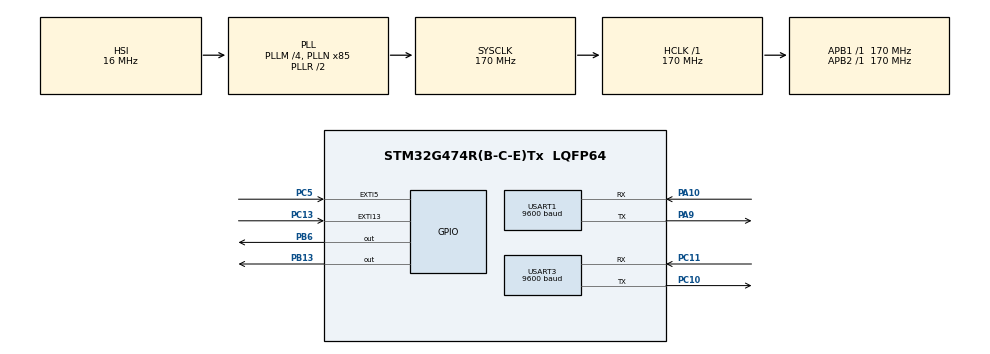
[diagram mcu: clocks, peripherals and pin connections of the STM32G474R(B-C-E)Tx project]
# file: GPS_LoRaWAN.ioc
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Dma.Request0=USART3_RX
Dma.USART3_RX.0.Direction=DMA_PERIPH_TO_MEMORY
Dma.USART3_RX.0.EventEnable=DISABLE
Dma.USART3_RX.0.Instance=DMA1_Channel1
Dma.USART3_RX.0.MemDataAlignment=DMA_MDATAALIGN_BYTE
Dma.USART3_RX.0.MemInc=DMA_MINC_ENABLE
Dma.USART3_RX.0.Mode=DMA_NORMAL
Dma.USART3_RX.0.PeriphDataAlignment=DMA_PDATAALIGN_BYTE
Dma.USART3_RX.0.PeriphInc=DMA_PINC_DISABLE
Dma.USART3_RX.0.Polarity=HAL_DMAMUX_REQ_GEN_RISING
Dma.USART3_RX.0.Priority=DMA_PRIORITY_LOW
Dma.USART3_RX.0.RequestNumber=1
Dma.USART3_RX.0.SignalID=NONE
Dma.USART3_RX.0.SyncEnable=DISABLE
Dma.USART3_RX.0.SyncPolarity=HAL_DMAMUX_SYNC_NO_EVENT
Dma.USART3_RX.0.SyncRequestNumber=1
Dma.USART3_RX.0.SyncSignalID=NONE
Mcu.Family=STM32G4
Mcu.Name=STM32G474R(B-C-E)Tx
Mcu.Package=LQFP64
NVIC.DMA1_Channel1_IRQn=true\:0\:0\:false\:false\:true\:false\:true\:true
NVIC.EXTI15_10_IRQn=true\:0\:0\:false\:false\:true\:true\:true\:true
NVIC.EXTI9_5_IRQn=true\:0\:0\:false\:false\:true\:true\:true\:true
NVIC.PriorityGroup=NVIC_PRIORITYGROUP_4
NVIC.RTC_WKUP_IRQn=true\:0\:0\:false\:false\:true\:true\:true\:true
NVIC.TIM5_IRQn=true\:0\:0\:false\:false\:true\:true\:true\:true
NVIC.USART1_IRQn=true\:0\:0\:false\:false\:true\:true\:true\:true
NVIC.USART3_IRQn=true\:0\:0\:false\:false\:true\:true\:true\:true
PA10.Mode=Asynchronous
PA10.Signal=USART1_RX
PA13.GPIO_Label=T_SWDIO
PA13.Signal=SYS_JTMS-SWDIO
PA14.GPIO_Label=T_SWCLK
PA14.Signal=SYS_JTCK-SWCLK
PA9.Mode=Asynchronous
PA9.Signal=USART1_TX
PB13.Signal=GPIO_Output
PB3.GPIO_Label=T_SWO
PB3.Signal=SYS_JTDO-SWO
PB6.Signal=GPIO_Output
PC10.Mode=Asynchronous
PC10.Signal=USART3_TX
PC11.Mode=Asynchronous
PC11.Signal=USART3_RX
PC13.Signal=GPXTI13
PC14-OSC32_IN.GPIO_Label=RCC_OSC32_IN
PC14-OSC32_IN.Signal=RCC_OSC32_IN
PC15-OSC32_OUT.GPIO_Label=RCC_OSC32_OUT
PC15-OSC32_OUT.Signal=RCC_OSC32_OUT
PC5.Signal=GPXTI5
PF0-OSC_IN.GPIO_Label=RCC_OSC_IN
PF0-OSC_IN.Mode=HSE-External-Oscillator
PF0-OSC_IN.Signal=RCC_OSC_IN
PF1-OSC_OUT.GPIO_Label=RCC_OSC_OUT
PF1-OSC_OUT.Mode=HSE-External-Oscillator
PF1-OSC_OUT.Signal=RCC_OSC_OUT
ProjectManager.HeapSize=0x200
ProjectManager.StackSize=0x400
ProjectManager.TargetToolchain=STM32CubeIDE
RCC.ADC12Freq_Value=170000000
RCC.ADC345Freq_Value=170000000
RCC.AHBFreq_Value=170000000
RCC.APB1Freq_Value=170000000
RCC.APB1TimFreq_Value=170000000
RCC.APB2Freq_Value=170000000
RCC.APB2TimFreq_Value=170000000
RCC.CortexFreq_Value=170000000
RCC.EXTERNAL_CLOCK_VALUE=12288000
RCC.HCLKFreq_Value=170000000
RCC.HSE_VALUE=24000000
RCC.HSI48_VALUE=48000000
RCC.HSI_VALUE=16000000
RCC.LSE_VALUE=32768
RCC.PLLM=RCC_PLLM_DIV4
RCC.PLLN=85
RCC.SYSCLKFreq_VALUE=170000000
RCC.SYSCLKSource=RCC_SYSCLKSOURCE_PLLCLK
RCC.USBFreq_Value=170000000
RCC.VCOOutputFreq_Value=340000000
RTC.WakeUpCounter-WakeUp=61439
TIM5.PeriodNoDither=1199999
TIM5.Prescaler=16999
USART1.BaudRate=9600
USART1.VirtualMode-Asynchronous=VM_ASYNC
USART3.BaudRate=9600
USART3.VirtualMode-Asynchronous=VM_ASYNC
VP_RTC_VS_RTC_Activate.Mode=RTC_Enabled
VP_RTC_VS_RTC_WakeUp_intern.Mode=WakeUp
VP_SYS_VS_DBSignals.Mode=DisableDeadBatterySignals
VP_TIM5_VS_ClockSourceINT.Mode=Internal
board=NUCLEO-G474RE

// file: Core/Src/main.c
/* USER CODE BEGIN Header */
/**
  ******************************************************************************
  * @file           : main.c
  * @brief          : Main program body
  ******************************************************************************
  * @attention
  *
  * Copyright (c) 2024 STMicroelectronics.
  * All rights reserved.
  *
  * This software is licensed under terms that can be found in the LICENSE file
  * in the root directory of this software component.
  * If no LICENSE file comes with this software, it is provided AS-IS.
  *
  ******************************************************************************
  */
/* USER CODE END Header */
#include "main.h"

/* USER CODE BEGIN Includes */
#include <string.h>
#include <stdio.h>
#include <stdlib.h>
/* USER CODE END Includes */

/* USER CODE BEGIN PD */
#define BUFFER_SIZE 		83
#define LoRa_BUFFER_SIZE 	64

#define WAKE 1					//States Definieren
#define SEND 2
#define JOIN 3
#define SLEEP 4
#define GPS 5
#define FULL_RESET 6

#define OK_ANSWER 1				//States für erwartete Antwort der LoRa Antenne definieren
#define JOIN_ANSWER 2
#define SEND_ANSWER 3

#define SEARCH_STRING "$GNRMC"  // Die zu suchende Zeichenkette in der GPS Nachricht
/* USER CODE END PD */

RTC_HandleTypeDef hrtc;

TIM_HandleTypeDef htim5;

UART_HandleTypeDef huart1;
UART_HandleTypeDef huart3;
DMA_HandleTypeDef hdma_usart3_rx;

/* USER CODE BEGIN PV */
char rxBuffer[LoRa_BUFFER_SIZE]; 		//Puffer für die LoRa-Antwort
uint8_t rxBuf;
uint8_t gps_index = 0;
uint8_t recieving = 0;
uint8_t answerRecieved = 0;				//Umschaltvariable für Antwort der LoRa-Antenne
uint8_t state = WAKE;						//Zustandsvariable
uint8_t stateAnswer = 0;				//Zustandsvariable für die erwartete LoRa Antwort
uint8_t rxByte;							//Variable für aktuell eingelesenes Byte auf dem UART
uint16_t rx_index = 0;					//Variable für den aktuellen Index im Puffer

uint8_t message_buffer[BUFFER_SIZE];  // Puffer für die Nachricht zwischen "$GNRMC" und "*"
uint16_t buffer_index = 0;  // Index, um den aktuellen Pufferort zu verfolgen
uint16_t message_index = 0;  // Index für den Nachrichtenspeicher
uint16_t GpsSize = 0;	//Variable für die größe des GPS Strings
uint8_t rx_char;  // Einzelnes Zeichen für den Empfang
uint8_t checksum_phase = 0;  // Speichert, ob wir gerade die Prüfsumme empfangen
uint8_t GpsActive = 0;		//Umschaltvariable für validität der GPS-Daten
volatile char LoraPayload[sizeof(message_buffer) * 2 + 1];	//Hilfspuffer für die LoRa Payload
/* USER CODE END PV */

void SystemClock_Config(void);
static void MX_GPIO_Init(void);
static void MX_DMA_Init(void);
static void MX_USART1_UART_Init(void);
static void MX_USART3_UART_Init(void);
static void MX_TIM5_Init(void);
static void MX_RTC_Init(void);
/* USER CODE BEGIN PFP */
void sendCommandAndWaitForOK(const char *command);
uint8_t checkResponse(char *rxBuffer, const char* strCheck);
void parse_gnrmc(char *data);
void send_ubx_message(UART_HandleTypeDef *huart, uint8_t *msg, uint16_t len);
void Process_GNRMC_Data(uint8_t* data);
void Config_GPS_Modul(void);
void Store_GPS_Data(void);
int GPS_Check_ACK(uint8_t *buffer, int size);
void Config_GPS_Modul_Iteration(uint8_t state);
void convertToHex(const char *input, char *output);
void processLoraMessage(char *rxBuffer);
/* USER CODE END PFP */

int main(void)
{

  /* MCU Configuration--------------------------------------------------------*/

  /* Reset of all peripherals, Initializes the Flash interface and the Systick. */
  HAL_Init();

  /* Configure the system clock */
  SystemClock_Config();

  /* Initialize all configured peripherals */
  MX_GPIO_Init();
  MX_DMA_Init();
  MX_USART1_UART_Init();
  MX_USART3_UART_Init();
  MX_TIM5_Init();
  MX_RTC_Init();
  /* USER CODE BEGIN 2 */
/* ============== Activate Power Supply for external Components ===========*/
//  HAL_GPIO_WritePin(GPIOB, GPIO_PIN_13, GPIO_PIN_SET);
/* ========================================================================*/
  if (__HAL_PWR_GET_FLAG(PWR_FLAG_SB) != RESET)		//Mit Standby-Flag prüfen ob Programm aus standby erwacht ist
  {
      __HAL_PWR_CLEAR_FLAG(PWR_FLAG_SB);  // Standby-Flag löschen
      HAL_RTCEx_DeactivateWakeUpTimer(&hrtc);  // RTC Wakeup deaktivieren
      state = WAKE;							//In Zustand "WAKE" gehen
  }

  /* USER CODE END 2 */

  /* Infinite loop */
  /* USER CODE BEGIN WHILE */
  while (1)
  {

	  switch (state)
	  {
	  case 0:
		  state = WAKE;
		  break;
	  case WAKE:
		  HAL_TIM_Base_Start_IT(&htim5);			//Timer für Errortimeout im Interruptmodus starten
		  HAL_GPIO_WritePin(GPIOB, GPIO_PIN_13, GPIO_PIN_SET);	//Stromversorgung der Antennen einschalten
		  HAL_Delay(5000);
		  Config_GPS_Modul();						//GPS-Modul konfigurieren
		  HAL_UART_Receive_IT(&huart3, &rx_char, 1);	//Auf UART3(GPS) zuhören im Interruptmodus
		  answerRecieved = 0;						//Antwortflag reseten
		  state = GPS;								//In GPS Zustand wechseln
		  break;
	  case SEND:
		  if(!answerRecieved){				//Prüfen ob bereits Antwort empfangen wurde
		  uint8_t atCommand1[sizeof(LoraPayload) + 20];		//Command Array definieren
		  snprintf(atCommand1, sizeof(atCommand1), "AT+SEND=1:1:%s\r\n", LoraPayload); //Command Array mit Send-Befehl und Payload füllen
		  memset(LoraPayload, 0, sizeof(LoraPayload));	//Hilfspuffer für Payload reseten
		  stateAnswer = SEND_ANSWER;					//Antwortszustand für Antworten vom AT+SEND command setzen
		  HAL_Delay(1000);
		  HAL_UART_Receive_IT(&huart1, &rxByte, 1);		//An UART1 (LoRa) zuhören im Interruptmodus starten
		  HAL_UART_Transmit(&huart1, atCommand1, 14 + GpsSize * 2 - 1,  HAL_MAX_DELAY);		//Command Array an UART1 (LoRa) senden
		  HAL_Delay(500);
		  }
		  break;
	  case JOIN:
		  HAL_UART_Receive_IT(&huart1, &rxByte, 1);		//An UART1 (LoRa) zuhören im Interruptmodus starten
		  HAL_UART_Receive_IT(&huart3, &rx_char, 1);	//An UART3 (GPS) zuhören im Interruptmodus starten
		  uint8_t atCommand6[] = "AT+JOIN=1\r\n";		//Command array initialisieren
		  if(!answerRecieved){							//Prüfen ob bereits eine Antwort eines vorherigen durchlaufs empfangen wurde um nicht durchgehend wieder zu senden
		  HAL_Delay(1000);
		  stateAnswer = JOIN_ANSWER;					//Antwortszustand für Antworten vom AT+JOIN Command setzen
		  HAL_UART_Receive_IT(&huart1, &rxByte, 1);			//An UART1 (LoRa) zuhören im Interruptmodus starten
		  HAL_UART_Transmit(&huart1, atCommand6, sizeof(atCommand6) - 1, HAL_MAX_DELAY);	//Command Array an UART1 (LoRa) senden
		  HAL_Delay(500);
		  }
		  break;
	  case SLEEP:
		  HAL_TIM_Base_Stop(&htim5);	//Timer für Errortimeout stopen
		  HAL_GPIO_WritePin(GPIOB, GPIO_PIN_13, GPIO_PIN_RESET);	//Stromversorgung der Antennen abschalten
		  HAL_RTCEx_SetWakeUpTimer_IT(&hrtc, 61439, RTC_WAKEUPCLOCK_RTCCLK_DIV16);	//RTC Wakeuptimer starten
		  HAL_PWR_EnterSTANDBYMode();				    // Standby-Modus aktivieren
		  break;
	  case GPS:
		  HAL_UART_Receive_IT(&huart3, &rx_char, 1);		//An UART3 (GPS) zuhören im Interruptmodus starten
		  if(GpsActive){			//Prüfen ob valide GPS-Daten empfangen werden
			  state = JOIN;			//Zustand auf JOIN setzen
		  }
		  break;
	  case FULL_RESET:
		  HAL_TIM_Base_Stop(&htim5);		//Timer für Errortimeout stopen
		  HAL_GPIO_WritePin(GPIOB, GPIO_PIN_13, GPIO_PIN_RESET);	//Stromversorgung der Antennen abschalten
		  answerRecieved = 0;		//Antwortflag reseten
		  GpsActive = 0;			//GPSvalid flag reseten
		  HAL_Delay(5000);
		  state = WAKE;				//Zustand auf WAKE setzen
		  break;
	  }

	  HAL_Delay(500);
	  HAL_UART_Receive_IT(&huart1, &rxByte, 1);
  }
    /* USER CODE END WHILE */

}

void SystemClock_Config(void)
{
  RCC_OscInitTypeDef RCC_OscInitStruct = {0};
  RCC_ClkInitTypeDef RCC_ClkInitStruct = {0};

  /** Configure the main internal regulator output voltage
  */
  HAL_PWREx_ControlVoltageScaling(PWR_REGULATOR_VOLTAGE_SCALE1_BOOST);

  /** Initializes the RCC Oscillators according to the specified parameters
  * in the RCC_OscInitTypeDef structure.
  */
  RCC_OscInitStruct.OscillatorType = RCC_OSCILLATORTYPE_HSI|RCC_OSCILLATORTYPE_LSI;
  RCC_OscInitStruct.HSIState = RCC_HSI_ON;
  RCC_OscInitStruct.HSICalibrationValue = RCC_HSICALIBRATION_DEFAULT;
  RCC_OscInitStruct.LSIState = RCC_LSI_ON;
  RCC_OscInitStruct.PLL.PLLState = RCC_PLL_ON;
  RCC_OscInitStruct.PLL.PLLSource = RCC_PLLSOURCE_HSI;
  RCC_OscInitStruct.PLL.PLLM = RCC_PLLM_DIV4;
  RCC_OscInitStruct.PLL.PLLN = 85;
  RCC_OscInitStruct.PLL.PLLP = RCC_PLLP_DIV2;
  RCC_OscInitStruct.PLL.PLLQ = RCC_PLLQ_DIV2;
  RCC_OscInitStruct.PLL.PLLR = RCC_PLLR_DIV2;
  if (HAL_RCC_OscConfig(&RCC_OscInitStruct) != HAL_OK)
  {
    Error_Handler();
  }

  /** Initializes the CPU, AHB and APB buses clocks
  */
  RCC_ClkInitStruct.ClockType = RCC_CLOCKTYPE_HCLK|RCC_CLOCKTYPE_SYSCLK
                              |RCC_CLOCKTYPE_PCLK1|RCC_CLOCKTYPE_PCLK2;
  RCC_ClkInitStruct.SYSCLKSource = RCC_SYSCLKSOURCE_PLLCLK;
  RCC_ClkInitStruct.AHBCLKDivider = RCC_SYSCLK_DIV1;
  RCC_ClkInitStruct.APB1CLKDivider = RCC_HCLK_DIV1;
  RCC_ClkInitStruct.APB2CLKDivider = RCC_HCLK_DIV1;

  if (HAL_RCC_ClockConfig(&RCC_ClkInitStruct, FLASH_LATENCY_4) != HAL_OK)
  {
    Error_Handler();
  }
}

static void MX_RTC_Init(void)
{

  /** Initialize RTC Only
  */
  hrtc.Instance = RTC;
  hrtc.Init.HourFormat = RTC_HOURFORMAT_24;
  hrtc.Init.AsynchPrediv = 127;
  hrtc.Init.SynchPrediv = 255;
  hrtc.Init.OutPut = RTC_OUTPUT_DISABLE;
  hrtc.Init.OutPutRemap = RTC_OUTPUT_REMAP_NONE;
  hrtc.Init.OutPutPolarity = RTC_OUTPUT_POLARITY_HIGH;
  hrtc.Init.OutPutType = RTC_OUTPUT_TYPE_OPENDRAIN;
  hrtc.Init.OutPutPullUp = RTC_OUTPUT_PULLUP_NONE;
  if (HAL_RTC_Init(&hrtc) != HAL_OK)
  {
    Error_Handler();
  }

  /** Enable the WakeUp
  */
  if (HAL_RTCEx_SetWakeUpTimer_IT(&hrtc, 61439, RTC_WAKEUPCLOCK_RTCCLK_DIV16) != HAL_OK)
  {
    Error_Handler();
  }

}

static void MX_TIM5_Init(void)
{

  TIM_ClockConfigTypeDef sClockSourceConfig = {0};
  TIM_MasterConfigTypeDef sMasterConfig = {0};

  htim5.Instance = TIM5;
  htim5.Init.Prescaler = 16999;
  htim5.Init.CounterMode = TIM_COUNTERMODE_UP;
  htim5.Init.Period = 1199999;
  htim5.Init.ClockDivision = TIM_CLOCKDIVISION_DIV1;
  htim5.Init.AutoReloadPreload = TIM_AUTORELOAD_PRELOAD_DISABLE;
  if (HAL_TIM_Base_Init(&htim5) != HAL_OK)
  {
    Error_Handler();
  }
  sClockSourceConfig.ClockSource = TIM_CLOCKSOURCE_INTERNAL;
  if (HAL_TIM_ConfigClockSource(&htim5, &sClockSourceConfig) != HAL_OK)
  {
    Error_Handler();
  }
  sMasterConfig.MasterOutputTrigger = TIM_TRGO_RESET;
  sMasterConfig.MasterSlaveMode = TIM_MASTERSLAVEMODE_DISABLE;
  if (HAL_TIMEx_MasterConfigSynchronization(&htim5, &sMasterConfig) != HAL_OK)
  {
    Error_Handler();
  }

}

static void MX_USART1_UART_Init(void)
{

  huart1.Instance = USART1;
  huart1.Init.BaudRate = 9600;
  huart1.Init.WordLength = UART_WORDLENGTH_8B;
  huart1.Init.StopBits = UART_STOPBITS_1;
  huart1.Init.Parity = UART_PARITY_NONE;
  huart1.Init.Mode = UART_MODE_TX_RX;
  huart1.Init.HwFlowCtl = UART_HWCONTROL_NONE;
  huart1.Init.OverSampling = UART_OVERSAMPLING_16;
  huart1.Init.OneBitSampling = UART_ONE_BIT_SAMPLE_DISABLE;
  huart1.Init.ClockPrescaler = UART_PRESCALER_DIV1;
  huart1.AdvancedInit.AdvFeatureInit = UART_ADVFEATURE_NO_INIT;
  if (HAL_UART_Init(&huart1) != HAL_OK)
  {
    Error_Handler();
  }
  if (HAL_UARTEx_SetTxFifoThreshold(&huart1, UART_TXFIFO_THRESHOLD_1_8) != HAL_OK)
  {
    Error_Handler();
  }
  if (HAL_UARTEx_SetRxFifoThreshold(&huart1, UART_RXFIFO_THRESHOLD_1_8) != HAL_OK)
  {
    Error_Handler();
  }
  if (HAL_UARTEx_DisableFifoMode(&huart1) != HAL_OK)
  {
    Error_Handler();
  }

}

static void MX_USART3_UART_Init(void)
{

  huart3.Instance = USART3;
  huart3.Init.BaudRate = 9600;
  huart3.Init.WordLength = UART_WORDLENGTH_8B;
  huart3.Init.StopBits = UART_STOPBITS_1;
  huart3.Init.Parity = UART_PARITY_NONE;
  huart3.Init.Mode = UART_MODE_TX_RX;
  huart3.Init.HwFlowCtl = UART_HWCONTROL_NONE;
  huart3.Init.OverSampling = UART_OVERSAMPLING_16;
  huart3.Init.OneBitSampling = UART_ONE_BIT_SAMPLE_DISABLE;
  huart3.Init.ClockPrescaler = UART_PRESCALER_DIV1;
  huart3.AdvancedInit.AdvFeatureInit = UART_ADVFEATURE_NO_INIT;
  if (HAL_UART_Init(&huart3) != HAL_OK)
  {
    Error_Handler();
  }
  if (HAL_UARTEx_SetTxFifoThreshold(&huart3, UART_TXFIFO_THRESHOLD_1_8) != HAL_OK)
  {
    Error_Handler();
  }
  if (HAL_UARTEx_SetRxFifoThreshold(&huart3, UART_RXFIFO_THRESHOLD_1_8) != HAL_OK)
  {
    Error_Handler();
  }
  if (HAL_UARTEx_DisableFifoMode(&huart3) != HAL_OK)
  {
    Error_Handler();
  }

}

static void MX_DMA_Init(void)
{

  /* DMA controller clock enable */
  __HAL_RCC_DMAMUX1_CLK_ENABLE();
  __HAL_RCC_DMA1_CLK_ENABLE();

  /* DMA interrupt init */
  /* DMA1_Channel1_IRQn interrupt configuration */
  HAL_NVIC_SetPriority(DMA1_Channel1_IRQn, 0, 0);
  HAL_NVIC_EnableIRQ(DMA1_Channel1_IRQn);

}

static void MX_GPIO_Init(void)
{
  GPIO_InitTypeDef GPIO_InitStruct = {0};

  /* GPIO Ports Clock Enable */
  __HAL_RCC_GPIOC_CLK_ENABLE();
  __HAL_RCC_GPIOF_CLK_ENABLE();
  __HAL_RCC_GPIOB_CLK_ENABLE();
  __HAL_RCC_GPIOA_CLK_ENABLE();

  /*Configure GPIO pin Output Level */
  HAL_GPIO_WritePin(GPIOB, GPIO_PIN_13|GPIO_PIN_6, GPIO_PIN_RESET);

  /*Configure GPIO pins : PC13 PC5 */
  GPIO_InitStruct.Pin = GPIO_PIN_13|GPIO_PIN_5;
  GPIO_InitStruct.Mode = GPIO_MODE_IT_RISING;
  GPIO_InitStruct.Pull = GPIO_NOPULL;
  HAL_GPIO_Init(GPIOC, &GPIO_InitStruct);

  /*Configure GPIO pins : PB13 PB6 */
  GPIO_InitStruct.Pin = GPIO_PIN_13|GPIO_PIN_6;
  GPIO_InitStruct.Mode = GPIO_MODE_OUTPUT_PP;
  GPIO_InitStruct.Pull = GPIO_NOPULL;
  GPIO_InitStruct.Speed = GPIO_SPEED_FREQ_LOW;
  HAL_GPIO_Init(GPIOB, &GPIO_InitStruct);

  /* EXTI interrupt init*/
  HAL_NVIC_SetPriority(EXTI9_5_IRQn, 0, 0);
  HAL_NVIC_EnableIRQ(EXTI9_5_IRQn);

  HAL_NVIC_SetPriority(EXTI15_10_IRQn, 0, 0);
  HAL_NVIC_EnableIRQ(EXTI15_10_IRQn);

}

/* USER CODE BEGIN 4 */
void HAL_UART_RxCpltCallback(UART_HandleTypeDef *huart)		//ISR der UARTS
{
    if (huart->Instance == USART3)		//Prüfen ob UART 3 (GPS) ausgelößt wurde
    {
		Store_GPS_Data();				//GPS Daten verarbeiten
        HAL_UART_Receive_IT(&huart3, &rx_char, 1);
    }

    if (huart->Instance == USART1)		//Prüfen ob UART 1 (LoRa) ausgelößt wurde
    {
    	answerRecieved = 1;				//Antwortflag setzen

			if (rxByte == '\n')			//Prüfen ob das aktuelle Byte "\n" ist
			{

				if (rx_index > 0 && rxBuffer[rx_index - 1] == '\r')		//Prüfen ob Index größer 0 und ob das verherige Byte "\r" war
				{

					if (rx_index > 7)		//Prüfen ob mindestens 7 Bytes empfangen wurden um "OK" antworten rauszufiltern
					{

						rxBuffer[rx_index - 1] = '\0';		//Puffer mit \0 abschließen
						answerRecieved = 0;					//Antwortflag reseten
						processLoraMessage(rxBuffer);		//Empfangene Nachricht verarbeiten

					}

					rx_index = 0;	//Index reseten
				}
				else
				{

					if (rx_index < LoRa_BUFFER_SIZE - 1)	//Prüfen ob Index kleiner als Puffergröße ist
					{
						rxBuffer[rx_index++] = rxByte;		//Aktuelles Byte an stelle von Index in Puffer schreiben und Index inkrementieren
					}
					else
					{
						answerRecieved = 0;					//Antwortflag reseten
						rx_index = 0;						//Index reseten
					}
				}
			}
			else
			{

				if (rx_index < LoRa_BUFFER_SIZE - 1)	//Prüfen ob Index kleiner als Puffergröße ist
				{
					rxBuffer[rx_index++] = rxByte;		//Aktuelles Byte an stelle von Index in Puffer schreiben und Index inkrementieren
				}
				else
				{
					answerRecieved = 0;					//Antwortflag reseten
					rx_index = 0;						//Index reseten
				}
			}

			HAL_UART_Receive_IT(&huart1, &rxByte, 1);

		}

}

uint8_t checkResponse(char *rxBuffer, const char* strCheck)
{
    if (strstr(rxBuffer, strCheck) != NULL)		//Prüfen ob strCheck in rxBuffer enthalten ist
    {
        memset(rxBuffer, 0, BUFFER_SIZE);		//rxBuffer reseten
        return 1;
    }
    return 0;
}

void Config_GPS_Modul(void)
{

	//UBX Commands definieren
	uint8_t ubx_cfg_nmea_RMC[] = {0xB5, 0x62, 0x06, 0x01, 0x08, 0x00, 0xF0, 0x04, 0x00, 0x01, 0x00, 0x00, 0x00, 0x00, 0x04, 0x44}; // activate
	uint8_t ubx_cfg_nmea_GGA[] = {0xB5, 0x62, 0x06, 0x01, 0x08, 0x00, 0xF0, 0x00, 0x00, 0x00, 0x00, 0x00, 0x00, 0x00, 0xFF, 0x23}; //deactivate
	uint8_t ubx_cfg_nmea_GLL[] = {0xB5, 0x62, 0x06, 0x01, 0x08, 0x00, 0xF0, 0x01, 0x00, 0x00, 0x00, 0x00, 0x00, 0x00, 0x00, 0x2A}; //deactivate
	uint8_t ubx_cfg_nmea_GSA[] = {0xB5, 0x62, 0x06, 0x01, 0x08, 0x00, 0xF0, 0x02, 0x00, 0x00, 0x00, 0x00, 0x00, 0x00, 0x01, 0x31}; //deactivate
	uint8_t ubx_cfg_nmea_GSV[] = {0xB5, 0x62, 0x06, 0x01, 0x08, 0x00, 0xF0, 0x03, 0x00, 0x00, 0x00, 0x00, 0x00, 0x00, 0x02, 0x38}; //deactivate
	uint8_t ubx_cfg_nmea_VTG[] = {0xB5, 0x62, 0x06, 0x01, 0x08, 0x00, 0xF0, 0x05, 0x00, 0x00, 0x00, 0x00, 0x00, 0x00, 0x04, 0x46}; //deactivate

	//UBX Commands an GPS Senden
	send_ubx_message(&huart3, ubx_cfg_nmea_RMC, sizeof(ubx_cfg_nmea_RMC));
	send_ubx_message(&huart3, ubx_cfg_nmea_GGA, sizeof(ubx_cfg_nmea_GGA));
	send_ubx_message(&huart3, ubx_cfg_nmea_GLL, sizeof(ubx_cfg_nmea_GLL));
	send_ubx_message(&huart3, ubx_cfg_nmea_GSA, sizeof(ubx_cfg_nmea_GSA));
	send_ubx_message(&huart3, ubx_cfg_nmea_GSV, sizeof(ubx_cfg_nmea_GSV));
	send_ubx_message(&huart3, ubx_cfg_nmea_VTG, sizeof(ubx_cfg_nmea_VTG));

}

void send_ubx_message(UART_HandleTypeDef *huart, uint8_t *msg, uint16_t len)
{
	HAL_UART_Transmit(huart, msg, len, 200);	//msg an huart senden
}

void Store_GPS_Data(void)
{
	if (recieving)		//Prüfen ob empfangen wird
	{

		if (rx_char == '*')		//Prüfen ob aktueller Char '*' ist (* schließt RMC Nachricht ab)
		{

			checksum_phase = 1;		//Checksum_phase setzen
		}
		else if (checksum_phase && message_index < BUFFER_SIZE - 1)		//Prüfen ob checksum_phase gesetzt ist und ob der Index kleiner als die Puffergröße ist
		{

			message_buffer[message_index++] = rx_char;	//Aktuellen Char an stelle von Index in Puffer schreiben und Index inkrementieren

			if (message_index >= 3 && checksum_phase)		//Prüfen ob index größergleich 3 und checksum_phase gesetzt ist
			{
				char hexOutput[sizeof(message_buffer) * 2 + 1];		//Puffer für Hex_daten initialisieren

				message_buffer[message_index] = '\0';		//Puffer mit '\0' abschließen
				if(message_buffer[17] == 'A'){				//Prüfen ob aktueller Buffer valide ist
				convertToHex((char *)message_buffer, hexOutput);	//Puffer zu HEX konvertieren
				printf("Empfangene Nachricht: %s\n", message_buffer);
				printf("Empfangene Nachricht in HEX: %s\n",  hexOutput);
				GpsSize = message_index;		//Aktuellen index in GpsSize speichern
				GpsActive = 1;					//GpsActive setzten um empfang valider GPS Daten zu bestätigen
				strcpy(LoraPayload, hexOutput);	//hexOutput in Hilfspuffer LoraPayload kopieren
				}

				memset(message_buffer, 0, BUFFER_SIZE);		//Puffer reseten
				memset(hexOutput, 0, sizeof(hexOutput));	//Hex-Puffer reseten
				message_index = 0;							//INdex reseten
				recieving = 0;								//recieve Flag reseten
				checksum_phase = 0;							//Checksum_phase reseten
			}
		} else if (message_index < BUFFER_SIZE - 1)			//Prüfen ob noch platz im Puffer ist
		{

			message_buffer[message_index++] = rx_char;		//Aktuellen Char an stelle von Index in Puffer schreiben und Index inkrementieren
		}
	}
	else if (rx_char == '$')			//Prüfen ob startzeichen '$' empfangen wurde
	{

		message_index = 0;		//Index reseten
		recieving = 1;			//Recieve flag setzen
		checksum_phase = 0;
		memset(message_buffer, 0, BUFFER_SIZE);	//Puffer reseten
		message_buffer[message_index++] = rx_char;		//Aktuellen Char an stelle von Index in Puffer schreiben und Index inkrementieren
	}
}

void convertToHex(const char *input, char *output)
{
    while (*input) {
        sprintf(output, "%02X", (unsigned char)*input);		//Input stelle zu Hex convertieren und in Output stelle schreiben
        output += 2;		//Pointer auf Output position um 2 inkrementieren
        input++;		//Pointer auf input Stringposition inkrementieren
    }
    *output = '\0';		//Output string mit '\0' abschließen
}

void processLoraMessage(char *rxBuffer)
{

    printf("Empfangene Nachricht: %s\n", rxBuffer);

	switch(stateAnswer)
	{
	case 0:
		break;
	case JOIN_ANSWER:
		if(checkResponse(rxBuffer, "+EVT:JOIN FAILED") == 1)	//Puffer auf string überprüfen
		{
			state = JOIN;		//Zustand auf JOIN setzen
		}
		else if(checkResponse(rxBuffer, "+EVT:JOINED") == 1)	//Puffer auf string überprüfen
		{
			state = SEND;	//Zustand auf SEND setzen

		}
		else
		{
			state = GPS;	//Zustand auf GPS setzen
		}
		break;
	case SEND_ANSWER:
		if(checkResponse(rxBuffer, "AT_BUSY_ERROR") == 1)	//Puffer auf string überprüfen
		{
			HAL_Delay(5000);
			state = SEND;	//Zustand auf SEND setzen
		}
		else if(checkResponse(rxBuffer, "AT_NO_NETWORK_JOINED") == 1)	//Puffer auf string überprüfen
		{
			state = JOIN;	//Zustand auf JOIN setzen
		}
		else if(checkResponse(rxBuffer, "+EVT:SEND_CONFIRMED") == 1)	//Puffer auf string überprüfen
		{
			state = SLEEP;	//Zustand auf SLEEP setzen
		}
		else if(checkResponse(rxBuffer, "AT_PARAM_ERROR") == 1)	//Puffer auf string überprüfen
		{
			state = GPS;	//Zustand auf GPS setzen
		}
		else
		{
			state = SEND;	//Zustand auf SEND setzen
		}
		break;
	}
//	answerRecieved = 0;
}

void HAL_TIM_PeriodElapsedCallback(TIM_HandleTypeDef *htim){		//Errortimout ISR
	if(htim ->Instance == TIM5){	//Prüfen ob Timer5 Interrupt ausgelößt hat
		state = FULL_RESET;		//State auf FULL_RESET setzten
	}
}

/* USER CODE END 4 */

void Error_Handler(void)
{
  __disable_irq();
  while (1)
  {
  }
}
